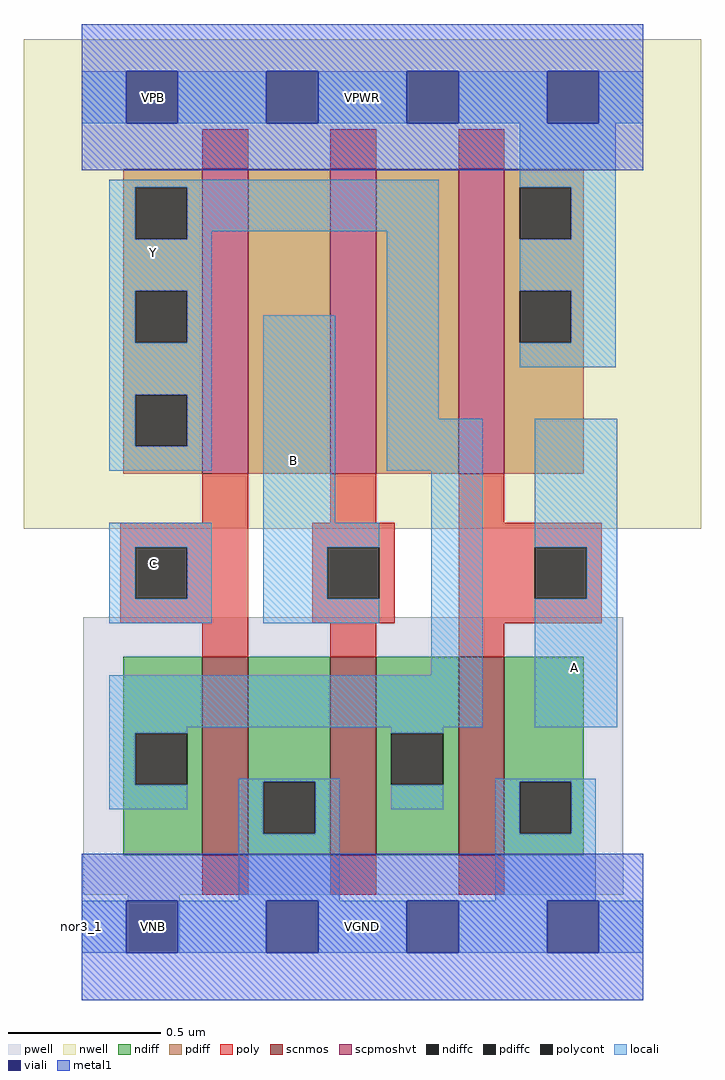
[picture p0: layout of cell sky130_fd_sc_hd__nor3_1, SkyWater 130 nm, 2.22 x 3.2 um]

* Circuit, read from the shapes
.subckt sky130_fd_sc_hd__nor3_1 A B C VGND VNB VPB VPWR Y
XM1 VGND C Y VNB sky130_fd_pr__nfet_01v8 w=0.65 l=0.15
XM2 Y B VGND VNB sky130_fd_pr__nfet_01v8 w=0.65 l=0.15
XM3 VGND A Y VNB sky130_fd_pr__nfet_01v8 w=0.65 l=0.15
XM4 n1 C Y VPB sky130_fd_pr__pfet_01v8_hvt w=1 l=0.15
XM5 n2 B n1 VPB sky130_fd_pr__pfet_01v8_hvt w=1 l=0.15
XM6 VPWR A n2 VPB sky130_fd_pr__pfet_01v8_hvt w=1 l=0.15
.ends

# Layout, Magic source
magic
tech sky130A
magscale 1 2
<< nwell >>
rect -38 261 406 582
<< pwell >>
rect 1 21 355 203
rect 30 -17 64 21
<< scnmos >>
rect 79 47 109 177
rect 163 47 193 177
rect 247 47 277 177
<< scpmoshvt >>
rect 79 297 109 497
rect 163 297 193 497
rect 247 297 277 497
<< ndiff >>
rect 27 127 79 177
rect 27 93 35 127
rect 69 93 79 127
rect 27 47 79 93
rect 109 95 163 177
rect 109 61 119 95
rect 153 61 163 95
rect 109 47 163 61
rect 193 127 247 177
rect 193 93 203 127
rect 237 93 247 127
rect 193 47 247 93
rect 277 95 329 177
rect 277 61 287 95
rect 321 61 329 95
rect 277 47 329 61
<< pdiff >>
rect 27 485 79 497
rect 27 451 35 485
rect 69 451 79 485
rect 27 417 79 451
rect 27 383 35 417
rect 69 383 79 417
rect 27 349 79 383
rect 27 315 35 349
rect 69 315 79 349
rect 27 297 79 315
rect 109 297 163 497
rect 193 297 247 497
rect 277 485 329 497
rect 277 451 287 485
rect 321 451 329 485
rect 277 417 329 451
rect 277 383 287 417
rect 321 383 329 417
rect 277 297 329 383
<< ndiffc >>
rect 35 93 69 127
rect 119 61 153 95
rect 203 93 237 127
rect 287 61 321 95
<< pdiffc >>
rect 35 451 69 485
rect 35 383 69 417
rect 35 315 69 349
rect 287 451 321 485
rect 287 383 321 417
<< poly >>
rect 79 497 109 523
rect 163 497 193 523
rect 247 497 277 523
rect 79 265 109 297
rect 163 265 193 297
rect 247 265 277 297
rect 25 249 109 265
rect 25 215 35 249
rect 69 215 109 249
rect 25 199 109 215
rect 151 249 205 265
rect 151 215 161 249
rect 195 215 205 249
rect 151 199 205 215
rect 247 249 341 265
rect 247 215 297 249
rect 331 215 341 249
rect 247 199 341 215
rect 79 177 109 199
rect 163 177 193 199
rect 247 177 277 199
rect 79 21 109 47
rect 163 21 193 47
rect 247 21 277 47
<< polycont >>
rect 35 215 69 249
rect 161 215 195 249
rect 297 215 331 249
<< locali >>
rect 0 527 29 561
rect 63 527 121 561
rect 155 527 213 561
rect 247 527 305 561
rect 339 527 368 561
rect 18 485 234 490
rect 18 451 35 485
rect 69 456 234 485
rect 69 451 85 456
rect 18 417 85 451
rect 18 383 35 417
rect 69 383 85 417
rect 18 349 85 383
rect 18 315 35 349
rect 69 315 85 349
rect 18 299 85 315
rect 119 265 166 401
rect 200 333 234 456
rect 287 485 350 527
rect 321 451 350 485
rect 287 417 350 451
rect 321 383 350 417
rect 287 367 350 383
rect 200 299 263 333
rect 18 249 85 265
rect 18 215 35 249
rect 69 215 85 249
rect 18 199 85 215
rect 119 249 195 265
rect 119 215 161 249
rect 119 199 195 215
rect 229 165 263 299
rect 18 131 263 165
rect 297 249 351 333
rect 331 215 351 249
rect 297 131 351 215
rect 18 127 69 131
rect 18 93 35 127
rect 203 127 237 131
rect 18 77 69 93
rect 103 95 169 97
rect 103 61 119 95
rect 153 61 169 95
rect 203 77 237 93
rect 271 95 337 97
rect 103 17 169 61
rect 271 61 287 95
rect 321 61 337 95
rect 271 17 337 61
rect 0 -17 29 17
rect 63 -17 121 17
rect 155 -17 213 17
rect 247 -17 305 17
rect 339 -17 368 17
<< viali >>
rect 29 527 63 561
rect 121 527 155 561
rect 213 527 247 561
rect 305 527 339 561
rect 29 -17 63 17
rect 121 -17 155 17
rect 213 -17 247 17
rect 305 -17 339 17
<< metal1 >>
rect 0 561 368 592
rect 0 527 29 561
rect 63 527 121 561
rect 155 527 213 561
rect 247 527 305 561
rect 339 527 368 561
rect 0 496 368 527
rect 0 17 368 48
rect 0 -17 29 17
rect 63 -17 121 17
rect 155 -17 213 17
rect 247 -17 305 17
rect 339 -17 368 17
rect 0 -48 368 -17
<< labels >>
flabel locali s 30 221 64 255 0 FreeSans 400 0 0 0 C
port 3 nsew signal input
flabel locali s 30 425 64 459 0 FreeSans 200 0 0 0 Y
port 8 nsew signal output
flabel locali s 306 153 340 187 0 FreeSans 400 0 0 0 A
port 1 nsew signal input
flabel locali s 122 289 156 323 0 FreeSans 400 0 0 0 B
port 2 nsew signal input
flabel nwell s 30 527 64 561 0 FreeSans 200 0 0 0 VPB
port 6 nsew power bidirectional
flabel pwell s 30 -17 64 17 0 FreeSans 200 0 0 0 VNB
port 5 nsew ground bidirectional
flabel metal1 s 30 -17 64 17 0 FreeSans 200 0 0 0 VGND
port 4 nsew ground bidirectional abutment
flabel metal1 s 30 527 64 561 0 FreeSans 200 0 0 0 VPWR
port 7 nsew power bidirectional abutment
rlabel comment s 0 0 0 0 4 nor3_1
rlabel metal1 s 0 -48 368 48 1 VGND
port 4 nsew ground bidirectional abutment
rlabel metal1 s 0 496 368 592 1 VPWR
port 7 nsew power bidirectional abutment
<< properties >>
string FIXED_BBOX 0 0 368 544
string GDS_END 1999292
string GDS_FILE $PDKPATH/libs.ref/sky130_fd_sc_hd/gds/sky130_fd_sc_hd.gds
string GDS_START 1995112
string LEFclass CORE
string LEFsite unithd
string LEFsymmetry X Y R90
string path 0.000 0.000 9.200 0.000 
<< end >>
